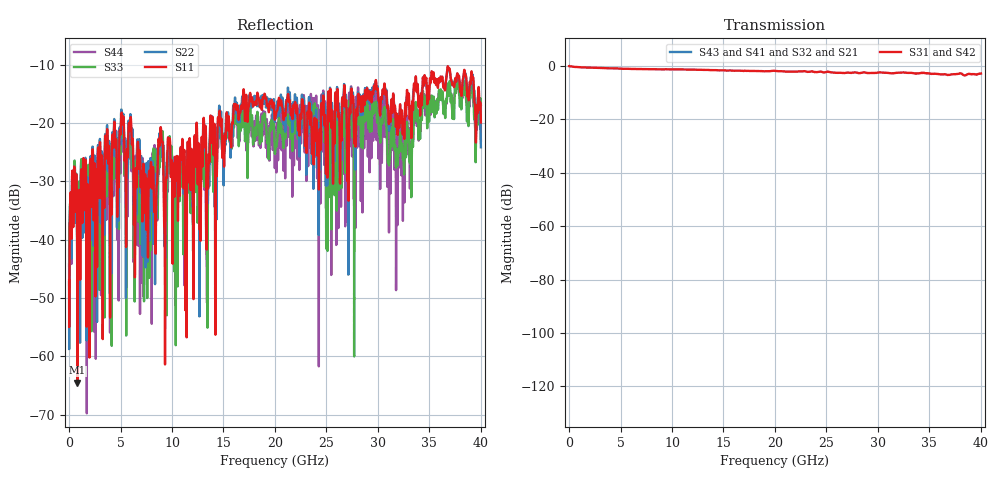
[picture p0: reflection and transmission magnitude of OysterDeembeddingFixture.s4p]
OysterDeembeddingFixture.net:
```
device D54 2 file Cable1_resampled.s2p
device D55 2 file Adapter.s2p
device D57 2 file Cable2_resampled.s2p
device D58 2 file Adapter.s2p
device D2 2 file TeledyneRelayClosed.s2p
device D3 2 file TeledyneRelayClosed.s2p
device D4 2 file SemiRigidCable2.s2p
device D5 2 file SemiRigidCable2.s2p
connect D54 1 D55 2
port 3 D54 2
connect D4 2 D55 1
connect D57 1 D58 2
port 4 D57 2
connect D58 1 D5 2
port 1 D2 1
port 2 D3 1
connect D2 2 D4 1
connect D5 1 D3 2
```
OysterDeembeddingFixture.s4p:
# MHz MA S R 50.0
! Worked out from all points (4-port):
!   8000 points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, 5 MHz to 40 GHz, reference 50 ohm
!   strongest paths, dB at 5 MHz, 10.01 GHz, 20 GHz, 30 GHz, 40 GHz:
!     S31: -0.1, -1.2, -1.8, -2.5, -2.8
!     S42: 0.0, -1.3, -1.8, -2.5, -2.8
!     S43: -, -, -, -, -
!     S41: -, -, -, -, -
!     S32: -, -, -, -, -
!     S21: -, -, -, -, -
!   lowest |S11| = -64.5 dB at 815 MHz (marker M1), VSWR 1.00, Z = 49.9 + j0.0247 ohm
!   |S11| at or under -10 dB: start of sweep to end of sweep
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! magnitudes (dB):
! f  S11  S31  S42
! 5 MHz  -46.9  -0.1  0.0
! 815 MHz  -64.5  -0.4  -0.4
! 40 GHz  -19.9  -2.8  -2.8
